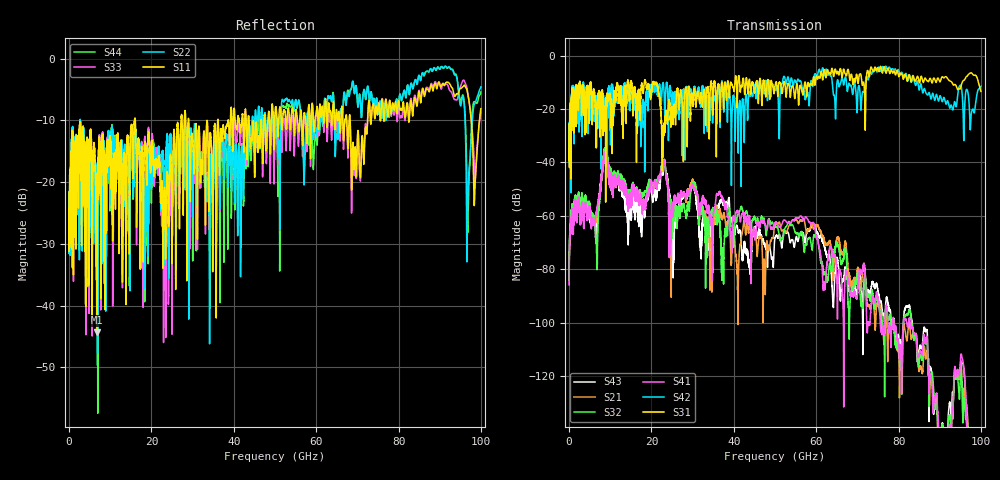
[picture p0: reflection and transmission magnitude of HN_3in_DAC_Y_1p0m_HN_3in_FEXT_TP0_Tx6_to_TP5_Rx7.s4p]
# GHz S RI R 45
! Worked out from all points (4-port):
!   4000 points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, 25 MHz to 100 GHz, reference 45 ohm
!   strongest paths, dB at 25 MHz, 25.02 GHz, 50.02 GHz, 75.03 GHz, 100 GHz:
!     S31: -39.3, -20.8, -11.3, -4.7, -13.4
!     S42: -38.9, -15.9, -12.9, -4.7, -11.5
!     S41: -85.7, -57.7, -62.5, -90.8, -172.5
!     S32: -83.9, -57.1, -63.7, -92.5, -180.3
!     S21: -85.7, -61.6, -62.6, -92.5, -175.9
!     S43: -81.9, -70.3, -68.1, -88.0, -175.5
!   lowest |S11| = -44.3 dB at 6.725 GHz (marker M1), VSWR 1.01, Z = 45.2 - j0.494 ohm
!   |S11| at or under -10 dB: start of sweep to 15.92 GHz; 16.04 GHz to 27.2 GHz (11.17 GHz wide, 51.7 % of centre); 29.08 GHz to 36.09 GHz (7.008 GHz wide, 21.5 % of centre)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
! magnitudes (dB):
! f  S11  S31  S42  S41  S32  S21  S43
! 25 MHz  -24.2  -39.3  -38.9  -85.7  -83.9  -85.7  -81.9
! 6.725 GHz  -44.3  -27.5  -17.8  -58.0  -71.5  -61.4  -65.8
! 8.875 GHz  -20.8  -22.2  -17.7  -35.8  -34.5  -35.2  -34.7
! 14.6 GHz  -19.5  -13.6  -16.4  -51.9  -50.5  -50.6  -55.8
! 22.93 GHz  -27.8  -26.3  -10.5  -41.0  -41.3  -40.6  -42.5
! 40.88 GHz  -10.5  -17.2  -17.6  -58.0  -60.1  -81.5  -64.1
! 100 GHz  -8.1  -13.4  -11.5  -172.5  -180.3  -175.9  -175.5
